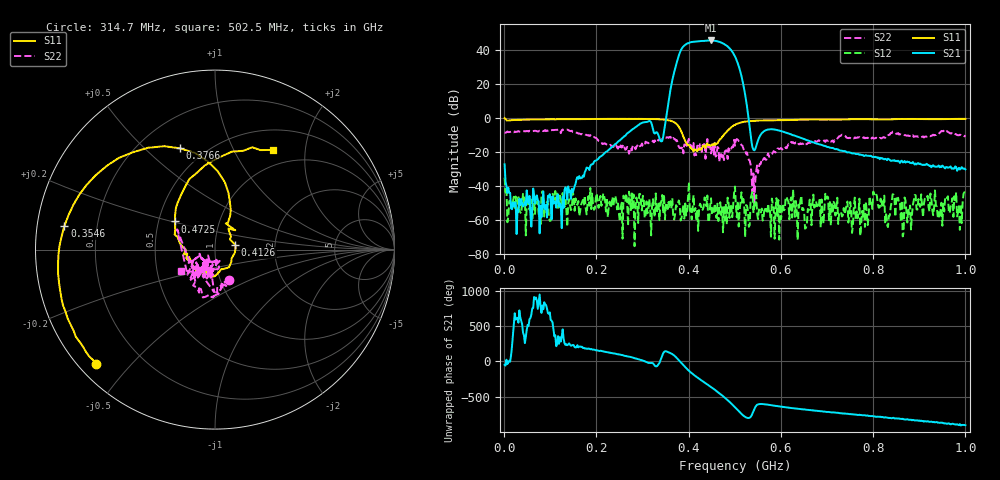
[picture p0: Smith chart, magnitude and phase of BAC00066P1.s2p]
!measured: 2026-10-27T15:09:15
!cal_instance: BBtestOct27
!cal_created: 2026-10-27T14:45
!cal_file: BBtesting.cal
!port1_delay_ps: -58.63
!port2_delay_ps: -59.31
!host: dhcp-10-250-247-203.harvard.edu
! Created with skrf 2.1.0 (http://scikit-rf.org).
# Hz S RI R 50.0
!freq ReS11 ImS11 ReS21 ImS21 ReS12 ImS12 ReS22 ImS22
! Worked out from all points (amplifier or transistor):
!   501 points, 1 MHz to 1 GHz, reference 50 ohm
!   highest |S21| = 45.5 dB at 448.6 MHz (marker M1)
!   |S21| within 3 dB of that: 390.6 MHz to 482 MHz (91.36 MHz wide, 20.9 % of centre)
!   unconditionally stable (mu >= 1): start of sweep to 398.7 MHz; 440.7 MHz to 484.5 MHz; 501.2 MHz to end of sweep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
!   at 166.8 MHz: K = 1606.10, MAG = -27.2 dB, |S12| = -51.1 dB
!   at 500.5 MHz: K = 0.72, MSG = 38.3 dB, |S12| = -40.5 dB
!   at 1 GHz: K = 281.25, MAG = -21.5 dB, |S12| = -42.3 dB
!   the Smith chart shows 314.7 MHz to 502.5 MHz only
!   S11 on the Smith chart (normalised r, x): 314.7 MHz: 0.05, -0.40; 354.6 MHz: 0.08, +0.08; 376.6 MHz: 0.37, +0.65; 412.6 MHz: 1.25, +0.07; 472.5 MHz: 0.61, +0.21; 502.5 MHz: 0.77, +1.45
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1000000  -0.329 0.9194  0.0282 -0.0322  -0.00981 0.0142  0.3605 -0.0726
1.68832e8  0.5008 -0.7636  -0.0153 -0.00763  -0.00144 0.00291  -0.0265 -0.332
3.14686e8  -0.662 -0.6389  0.7463 -0.3111  0.00407 0.000365  0.0766 -0.1715
3.34666e8  -0.8317 -0.3485  0.2282 -0.2018  -0.00206 -0.00253  0.0291 -0.2259
3.54646e8  -0.8395 0.1304  -1.473 1.541  -0.0012 0.00168  -0.0115 -0.2653
3.76624e8  -0.1951 0.564  46.61 28.26  -0.00221 -0.00201  -0.1237 -0.1142
3.86614e8  0.0748 0.3173  88.59 -74.89  0.0019 0.000306  -0.1275 -0.064
3.96604e8  0.0719 0.1485  -50.11 -143.4  -0.000298 -0.00181  -0.1227 -0.0692
4.04596e8  0.0768 0.1068  -152.7 -68.43  0.00209 0.000274  -0.1229 -0.0905
4.12588e8  0.113 0.0266  -165.3 53.14  0.000782 -0.00162  -0.0471 -0.0616
4.22578e8  0.0774 -0.0991  -73.07 163.4  0.000412 -0.00196  -0.00764 -0.1113
4.3057e8  0.00056 -0.1476  36.7 177.1  0.00155 -0.00125  -0.0247 -0.1572
4.48552e8  -0.1436 -0.0406  187.4 -8.548  -0.00135 -0.00406  -0.0865 -0.0232
4.62538e8  -0.1752 0.0084  60.87 -165.6  -0.00296 0.000293  -0.0298 -0.1355
4.72528e8  -0.2232 0.1569  -81.93 -135.5  0.0023 0.000313  0.0265 -0.0633
4.84516e8  -0.1426 0.3933  -124.2 16.3  -0.00431 0.00118  0.0104 -0.0606
5.005e8  0.2531 0.5543  20.48 59.86  -0.00397 -0.00855  -0.0771 -0.129
5.02498e8  0.325 0.5554  30.06 46.57  -0.00238 0.00045  -0.1907 -0.1173
5.16484e8  0.6459 0.3652  10.56 -7.166  0.00287 -0.000514  -0.1505 -0.0109
6.68332e8  0.0802 -0.8819  0.1686 0.0885  0.00171 0.00218  0.0266 -0.1911
8.34166e8  -0.5817 -0.6823  0.0098 -0.0595  -0.000885 -0.000981  -0.1878 -0.2511
1e9  -0.8867 -0.2633  -0.0303 0.00156  0.00568 -0.00515  -0.253 -0.1707
